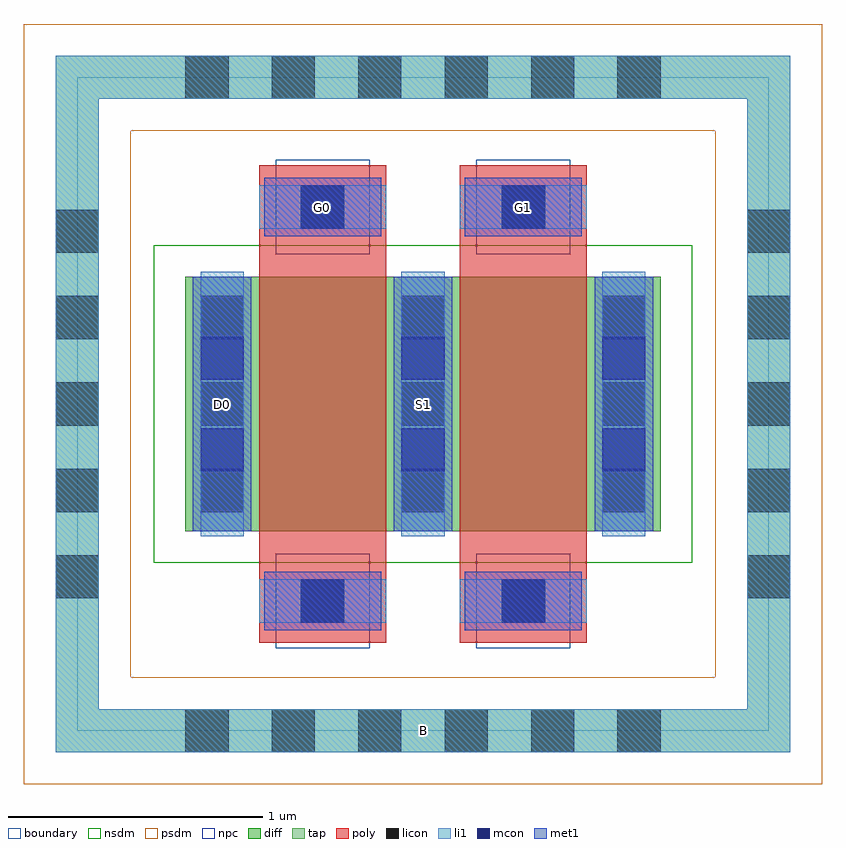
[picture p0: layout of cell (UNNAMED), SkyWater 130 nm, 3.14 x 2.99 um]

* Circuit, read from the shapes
.subckt (UNNAMED) B D0 G0 G1 S1
XM1 S1 G0 D0 B sky130_fd_pr__nfet_01v8 w=1 l=0.5
XM2 n1 G1 S1 B sky130_fd_pr__nfet_01v8 w=1 l=0.5
.ends

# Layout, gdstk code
import gdstk
lib = gdstk.Library(unit=1e-6, precision=1e-09)
def R(c, l, rs):  # rectangles x0, y0, x1, y1
    for r in rs: c.add(gdstk.rectangle(r[:2], r[2:], *l))
def A(c, l, x, y, w, h, nx, ny, dx, dy):  # array of equal rectangles
    R(c, l, [(x+i*dx, y+j*dy, x+i*dx+w, y+j*dy+h) for i in range(nx) for j in range(ny)])
diff = (65, 20)
tap = (65, 44)
poly = (66, 20)
licon = (66, 44)
li1 = (67, 20)
mcon = (67, 44)
met1 = (68, 20)
nsdm = (93, 44)
psdm = (94, 20)
npc = (95, 20)
boundary = (235, 4)

c__unnamed_ = lib.new_cell('(UNNAMED)')
R(c__unnamed_, diff, [(-0.935,-0.5,0.935,0.5)])
R(c__unnamed_, tap, [(-1.445,-1.37,1.445,-1.2), (-1.445,-1.2,-1.275,1.2), (1.275,-1.2,1.445,1.2), (-1.445,1.2,1.445,1.37)])
R(c__unnamed_, poly, [(-0.645,-0.94,-0.145,0.94), (0.145,-0.94,0.645,0.94)])
A(c__unnamed_, licon, -0.935, -1.37, 0.17, 0.17, 6, 2, 0.34, 2.57)
A(c__unnamed_, licon, -1.445, -0.765, 0.17, 0.17, 1, 5, 0, 0.34)
A(c__unnamed_, licon, 1.275, -0.765, 0.17, 0.17, 1, 5, 0, 0.34)
A(c__unnamed_, licon, -0.875, -0.425, 0.17, 0.17, 3, 3, 0.79, 0.34)
R(c__unnamed_, licon, [(-0.48,-0.86,-0.31,-0.69), (0.31,-0.86,0.48,-0.69), (-0.48,0.69,-0.31,0.86), (0.31,0.69,0.48,0.86)])
A(c__unnamed_, li1, -0.875, -0.52, 0.17, 1.04, 3, 1, 0.79, 0)
R(c__unnamed_, li1, [(-1.445,-1.37,1.445,-1.2), (-1.445,-1.2,-1.275,1.2), (1.275,-1.2,1.445,1.2), (-0.645,-0.86,-0.145,-0.69), (0.145,-0.86,0.645,-0.69), (-0.645,0.69,-0.145,0.86), (0.145,0.69,0.645,0.86), (-1.445,1.2,1.445,1.37)])
A(c__unnamed_, mcon, -0.875, -0.265, 0.17, 0.17, 3, 2, 0.79, 0.36)
R(c__unnamed_, mcon, [(-0.48,-0.86,-0.31,-0.69), (0.31,-0.86,0.48,-0.69), (-0.48,0.69,-0.31,0.86), (0.31,0.69,0.48,0.86)])
A(c__unnamed_, met1, -0.905, -0.5, 0.23, 1, 3, 1, 0.79, 0)
R(c__unnamed_, met1, [(-0.625,-0.89,-0.165,-0.66), (0.165,-0.89,0.625,-0.66), (-0.625,0.66,-0.165,0.89), (0.165,0.66,0.625,0.89)])
R(c__unnamed_, nsdm, [(-1.06,-0.625,1.06,0.625)])
R(c__unnamed_, psdm, [(-1.57,-1.495,1.57,-1.075), (-1.57,-1.075,-1.15,1.075), (1.15,-1.075,1.57,1.075), (-1.57,1.075,1.57,1.495)])
R(c__unnamed_, npc, [(-0.58,-0.96,-0.21,-0.59), (0.21,-0.96,0.58,-0.59), (-0.58,0.59,-0.21,0.96), (0.21,0.59,0.58,0.96)])
R(c__unnamed_, boundary, [(-1.36,-1.285,1.36,1.285)])
c__unnamed_.add(gdstk.Label('B', (0,-1.285), layer=67, texttype=5))
c__unnamed_.add(gdstk.Label('D0', (-0.79,0), layer=67, texttype=5))
c__unnamed_.add(gdstk.Label('G0', (-0.395,0.775), layer=67, texttype=5))
c__unnamed_.add(gdstk.Label('S1', (0,0), layer=67, texttype=5))
c__unnamed_.add(gdstk.Label('G1', (0.395,0.775), layer=67, texttype=5))

lib.write_gds('_UNNAMED_.gds')
